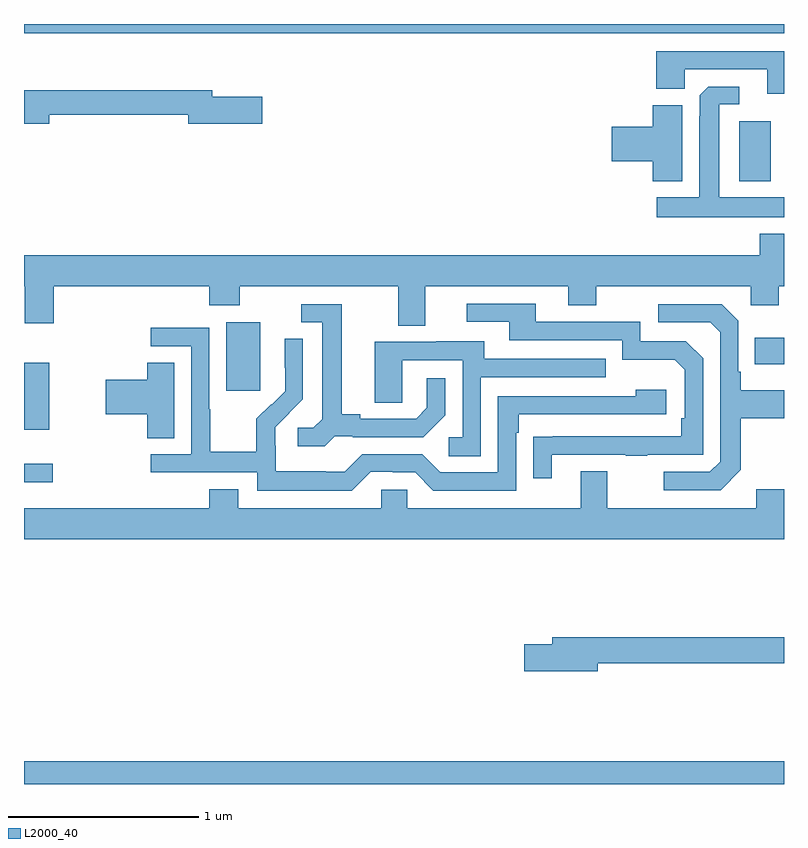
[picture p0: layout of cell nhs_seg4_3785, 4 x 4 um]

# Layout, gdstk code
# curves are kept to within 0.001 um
import gdstk
lib = gdstk.Library(unit=1e-6, precision=1e-09)
def R(c, l, rs):  # rectangles x0, y0, x1, y1
    for r in rs: c.add(gdstk.rectangle(r[:2], r[2:], *l))
def P(c, l, *ps):  # polygons
    for p in ps: c.add(gdstk.Polygon(p, *l))
L2000_40 = (2000, 40)

nhs_seg4_3785 = lib.new_cell('nhs_seg4_3785')
R(nhs_seg4_3785, L2000_40, [(311,760.9,315,761.02), (311,762.488,311.152,762.585), (311,762.764,311.134,763.117), (312.065,762.969,312.244,763.33), (314.845,763.109,315,763.249), (314.765,764.072,314.929,764.389), (311,764.852,315,764.9)])
P(nhs_seg4_3785, L2000_40, [(315,764.757),(314.327,764.757),(314.327,764.558),(314.478,764.558),(314.478,764.661),(314.912,764.661),(314.912,764.532),(315,764.532)],
  [(315,763.987),(314.659,763.987),(314.659,764.478),(314.764,764.478),(314.764,764.571),(314.602,764.571),(314.556,764.525),(314.555,763.987),(314.331,763.987),(314.331,763.883),(315,763.883)],
  [(311.134,764.422),(311.864,764.422),(311.864,764.375),(312.253,764.375),(312.253,764.517),(311.992,764.517),(311.992,764.551),(311,764.551),(311,764.375),(311.134,764.375)],
  [(314.464,764.473),(314.309,764.473),(314.309,764.36),(314.094,764.36),(314.094,764.177),(314.309,764.177),(314.309,764.072),(314.464,764.072)],
  [(314.973,763.52),(315,763.52),(315,763.795),(314.873,763.795),(314.873,763.684),(311,763.684),(311,763.52),(311.003,763.52),(311.003,763.326),(311.156,763.326),(311.156,763.52),(311.975,763.52),(311.975,763.421),(312.135,763.421),(312.135,763.52),(312.971,763.52),(312.971,763.312),(313.111,763.312),(313.111,763.52),(313.865,763.52),(313.865,763.421),(314.013,763.421),(314.013,763.52),(314.826,763.52),(314.826,763.421),(314.973,763.421)],
  [(313.777,762.633),(314.167,762.633),(314.167,762.628),(314.279,762.628),(314.279,762.633),(314.574,762.633),(314.574,763.14),(314.484,763.23),(314.244,763.23),(314.244,763.332),(313.693,763.332),(313.693,763.428),(313.329,763.428),(313.329,763.332),(313.553,763.332),(313.553,763.236),(314.148,763.236),(314.148,763.133),(314.425,763.133),(314.478,763.08),(314.478,762.826),(314.458,762.826),(314.458,762.729),(313.681,762.728),(313.681,762.51),(313.777,762.51)],
  [(314.773,762.553),(314.773,762.826),(315,762.826),(315,762.973),(314.773,762.973),(314.773,763.069),(314.76,763.069),(314.76,763.338),(314.673,763.425),(314.337,763.425),(314.337,763.329),(314.613,763.329),(314.664,763.278),(314.664,762.597),(314.61,762.543),(314.367,762.543),(314.367,762.447),(314.667,762.447)],
  [(312.636,762.729),(312.73,762.729),(312.73,762.726),(313.102,762.726),(313.218,762.842),(313.218,763.036),(313.121,763.036),(313.121,762.879),(313.064,762.822),(312.769,762.822),(312.769,762.845),(312.673,762.845),(312.673,763.425),(312.459,763.425),(312.459,763.329),(312.569,763.329),(312.569,762.821),(312.522,762.774),(312.441,762.774),(312.441,762.677),(312.584,762.677)],
  [(312.825,762.543),(312.941,762.543),(312.941,762.54),(313.059,762.54),(313.155,762.444),(313.59,762.444),(313.59,762.749),(313.603,762.749),(313.603,762.846),(314.38,762.846),(314.38,762.976),(314.219,762.976),(314.219,762.942),(313.494,762.942),(313.494,762.54),(313.191,762.54),(313.095,762.636),(312.78,762.636),(312.687,762.543),(312.587,762.543),(312.587,762.547),(312.324,762.547),(312.324,762.681),(312.322,762.681),(312.322,762.778),(312.468,762.926),(312.468,763.244),(312.372,763.244),(312.372,763.09),(312.374,763.09),(312.374,762.968),(312.303,762.897),(312.3,762.9),(312.223,762.823),(312.223,762.649),(311.979,762.649),(311.979,762.872),(311.976,762.872),(311.976,763.302),(311.667,763.302),(311.667,763.203),(311.88,763.203),(311.88,762.636),(311.667,762.636),(311.667,762.54),(312.228,762.54),(312.228,762.443),(312.725,762.443)],
  [(313.404,763.041),(314.063,763.041),(314.063,763.137),(313.423,763.137),(313.423,763.231),(313.169,763.231),(313.169,763.227),(312.845,763.227),(312.845,762.907),(312.99,762.907),(312.99,763.131),(313.308,763.131),(313.308,762.726),(313.236,762.726),(313.236,762.625),(313.404,762.625)],
  [(311.791,763.118),(311.648,763.118),(311.648,763.028),(311.43,763.028),(311.43,762.845),(311.648,762.845),(311.648,762.721),(311.791,762.721)],
  [(315,762.451),(314.855,762.451),(314.855,762.352),(314.071,762.352),(314.071,762.547),(313.931,762.547),(313.931,762.352),(313.017,762.352),(313.017,762.45),(312.879,762.45),(312.879,762.352),(312.127,762.352),(312.127,762.451),(311.975,762.451),(311.975,762.352),(311,762.352),(311,762.188),(315,762.188)],
  [(314.02,761.536),(315,761.536),(315,761.672),(313.781,761.672),(313.781,761.636),(313.632,761.636),(313.632,761.494),(314.02,761.494)])

lib.write_gds('nhs_seg4_3785.gds')
